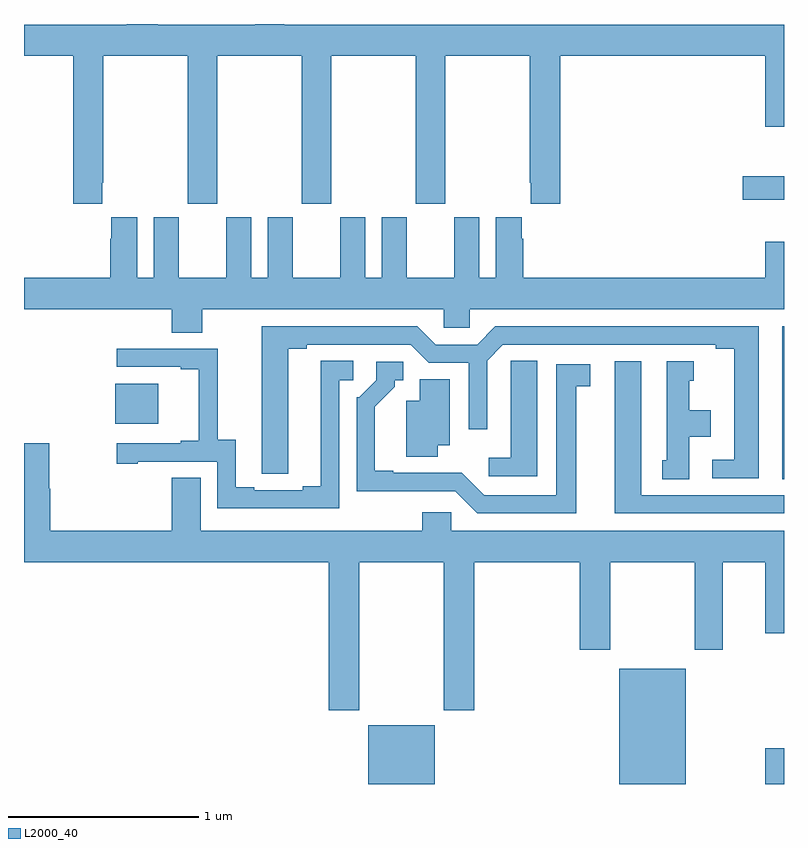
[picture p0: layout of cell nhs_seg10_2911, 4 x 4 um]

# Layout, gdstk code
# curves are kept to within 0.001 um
import gdstk
lib = gdstk.Library(unit=1e-6, precision=1e-09)
def R(c, l, rs):  # rectangles x0, y0, x1, y1
    for r in rs: c.add(gdstk.rectangle(r[:2], r[2:], *l))
def P(c, l, *ps):  # polygons
    for p in ps: c.add(gdstk.Polygon(p, *l))
L2000_40 = (2000, 40)

nhs_seg10_2911 = lib.new_cell('nhs_seg10_2911')
R(nhs_seg10_2911, L2000_40, [(270.812,1280.5,271.162,1280.809), (272.132,1280.5,272.482,1281.106), (272.9,1280.5,273,1280.689), (272.99,1282.105,273,1282.908), (269.48,1282.397,269.707,1282.606), (272.784,1283.576,273,1283.698)])
P(nhs_seg10_2911, L2000_40, [(270.369,1284.5),(270.218,1284.5),(270.218,1284.496),(269.705,1284.496),(269.705,1284.5),(269.54,1284.5),(269.54,1284.496),(269,1284.496),(269,1284.332),(269.258,1284.332),(269.258,1283.553),(269.413,1283.553),(269.413,1283.665),(269.418,1283.665),(269.418,1284.332),(269.863,1284.332),(269.863,1283.553),(270.018,1283.553),(270.018,1284.332),(270.463,1284.332),(270.463,1283.553),(270.618,1283.553),(270.618,1284.332),(271.063,1284.332),(271.063,1283.553),(271.218,1283.553),(271.218,1284.332),(271.663,1284.332),(271.663,1283.665),(271.667,1283.665),(271.667,1283.553),(271.823,1283.553),(271.823,1284.332),(272.9,1284.332),(272.9,1283.958),(273,1283.958),(273,1284.496),(270.369,1284.496)],
  [(269.937,1283),(271.209,1283),(271.209,1282.902),(271.347,1282.902),(271.347,1283),(273,1283),(273,1283.353),(272.9,1283.353),(272.9,1283.164),(271.628,1283.164),(271.628,1283.369),(271.621,1283.369),(271.621,1283.482),(271.484,1283.482),(271.484,1283.164),(271.396,1283.164),(271.396,1283.482),(271.265,1283.482),(271.265,1283.164),(271.015,1283.164),(271.015,1283.482),(270.884,1283.482),(270.884,1283.164),(270.796,1283.164),(270.796,1283.482),(270.665,1283.482),(270.665,1283.164),(270.415,1283.164),(270.415,1283.482),(270.284,1283.482),(270.284,1283.164),(270.196,1283.164),(270.196,1283.482),(270.065,1283.482),(270.065,1283.164),(269.815,1283.164),(269.815,1283.482),(269.684,1283.482),(269.684,1283.164),(269.596,1283.164),(269.596,1283.482),(269.459,1283.482),(269.459,1283.369),(269.453,1283.369),(269.453,1283.164),(269,1283.164),(269,1283),(269.777,1283),(269.777,1282.876),(269.937,1282.876)],
  [(272.866,1282.908),(271.481,1282.908),(271.385,1282.812),(271.167,1282.812),(271.071,1282.908),(270.251,1282.908),(270.252,1282.132),(270.391,1282.132),(270.391,1282.792),(270.487,1282.792),(270.487,1282.812),(271.035,1282.812),(271.131,1282.716),(271.341,1282.716),(271.341,1282.368),(271.437,1282.368),(271.437,1282.728),(271.521,1282.812),(272.642,1282.812),(272.642,1282.792),(272.738,1282.792),(272.738,1282.206),(272.622,1282.206),(272.622,1282.11),(272.866,1282.11)],
  [(270.66,1282.626),(270.733,1282.626),(270.733,1282.727),(270.563,1282.727),(270.563,1282.067),(270.467,1282.067),(270.467,1282.047),(270.211,1282.047),(270.211,1282.062),(270.115,1282.062),(270.115,1282.313),(270.021,1282.313),(270.021,1282.791),(269.487,1282.791),(269.487,1282.695),(269.825,1282.695),(269.825,1282.683),(269.921,1282.683),(269.921,1282.306),(269.825,1282.306),(269.825,1282.293),(269.487,1282.293),(269.487,1282.185),(269.599,1282.185),(269.599,1282.197),(270.018,1282.197),(270.018,1281.951),(270.66,1281.951)],
  [(271.702,1282.727),(271.563,1282.727),(271.563,1282.619),(271.562,1282.619),(271.562,1282.216),(271.446,1282.216),(271.446,1282.119),(271.702,1282.119)],
  [(273,1282.02),(272.248,1282.02),(272.248,1282.726),(272.108,1282.726),(272.108,1281.924),(273,1281.924)],
  [(272.5,1282.328),(272.614,1282.328),(272.614,1282.468),(272.5,1282.468),(272.5,1282.623),(272.524,1282.623),(272.524,1282.726),(272.384,1282.726),(272.384,1282.203),(272.36,1282.203),(272.36,1282.105),(272.5,1282.105)],
  [(271.906,1282.594),(271.981,1282.594),(271.981,1282.71),(271.802,1282.71),(271.802,1282.02),(271.422,1282.02),(271.304,1282.138),(270.943,1282.137),(270.943,1282.15),(270.847,1282.15),(270.847,1282.486),(270.952,1282.591),(270.952,1282.626),(270.997,1282.626),(270.997,1282.722),(270.855,1282.722),(270.855,1282.626),(270.765,1282.536),(270.75,1282.536),(270.75,1282.04),(271.269,1282.041),(271.386,1281.924),(271.906,1281.924)],
  [(271.177,1282.283),(271.24,1282.283),(271.24,1282.631),(271.082,1282.631),(271.082,1282.516),(271.013,1282.516),(271.013,1282.222),(271.177,1282.222)],
  [(270.765,1281.668),(271.21,1281.668),(271.21,1280.889),(271.37,1280.889),(271.37,1281.668),(271.925,1281.668),(271.925,1281.207),(272.085,1281.207),(272.085,1281.668),(272.53,1281.668),(272.53,1281.207),(272.677,1281.207),(272.677,1281.668),(272.9,1281.668),(272.9,1281.294),(273,1281.294),(273,1281.832),(271.248,1281.832),(271.248,1281.93),(271.097,1281.93),(271.097,1281.832),(269.929,1281.832),(269.929,1282.112),(269.777,1282.112),(269.777,1281.832),(269.138,1281.832),(269.138,1282.055),(269.133,1282.055),(269.133,1282.294),(269,1282.294),(269,1281.668),(270.605,1281.668),(270.605,1280.889),(270.765,1280.889)])

lib.write_gds('nhs_seg10_2911.gds')
